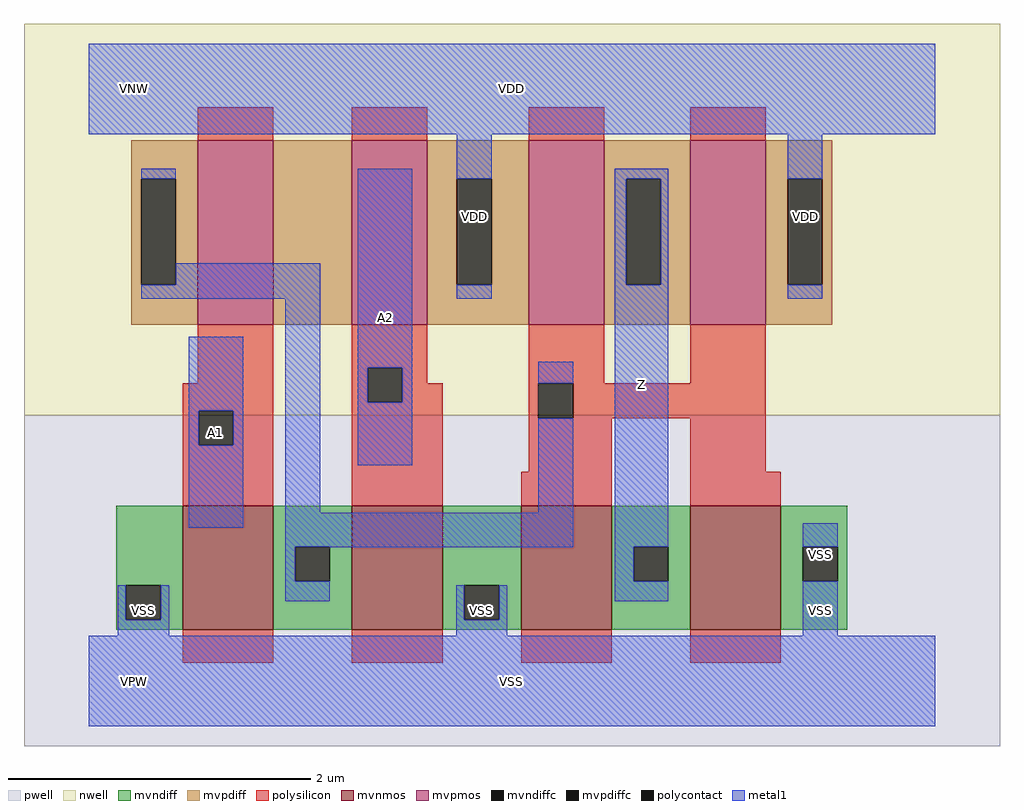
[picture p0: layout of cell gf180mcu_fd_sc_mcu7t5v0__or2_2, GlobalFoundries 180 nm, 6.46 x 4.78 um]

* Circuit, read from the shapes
.subckt gf180mcu_fd_sc_mcu7t5v0__or2_2 A1 A2 Z VDD VNW VPW VSS
XM1 n1 A1 VSS VPW nfet_06v0 w=0.82u l=0.6u
XM2 VSS A2 n1 VPW nfet_06v0 w=0.82u l=0.6u
XM3 Z n1 VSS VPW nfet_06v0 w=0.82u l=0.6u m=2
XM4 n2 A1 n1 VNW pfet_06v0 w=1.22u l=0.5u
XM5 VDD A2 n2 VNW pfet_06v0 w=1.22u l=0.5u
XM6 Z n1 VDD VNW pfet_06v0 w=1.22u l=0.5u m=2
.ends

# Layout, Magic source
magic
tech gf180mcuD
magscale 1 10
<< nwell >>
rect -86 352 1206 870
<< pwell >>
rect -86 -86 1206 352
<< mvnmos >>
rect 124 68 244 232
rect 348 68 468 232
rect 572 68 692 232
rect 796 68 916 232
<< mvpmos >>
rect 144 472 244 716
rect 348 472 448 716
rect 582 472 682 716
rect 796 472 896 716
<< mvndiff >>
rect 36 127 124 232
rect 36 81 49 127
rect 95 81 124 127
rect 36 68 124 81
rect 244 178 348 232
rect 244 132 273 178
rect 319 132 348 178
rect 244 68 348 132
rect 468 127 572 232
rect 468 81 497 127
rect 543 81 572 127
rect 468 68 572 81
rect 692 178 796 232
rect 692 132 721 178
rect 767 132 796 178
rect 692 68 796 132
rect 916 178 1004 232
rect 916 132 945 178
rect 991 132 1004 178
rect 916 68 1004 132
<< mvpdiff >>
rect 56 665 144 716
rect 56 525 69 665
rect 115 525 144 665
rect 56 472 144 525
rect 244 472 348 716
rect 448 665 582 716
rect 448 525 487 665
rect 533 525 582 665
rect 448 472 582 525
rect 682 665 796 716
rect 682 525 711 665
rect 757 525 796 665
rect 682 472 796 525
rect 896 665 984 716
rect 896 525 925 665
rect 971 525 984 665
rect 896 472 984 525
<< mvndiffc >>
rect 49 81 95 127
rect 273 132 319 178
rect 497 81 543 127
rect 721 132 767 178
rect 945 132 991 178
<< mvpdiffc >>
rect 69 525 115 665
rect 487 525 533 665
rect 711 525 757 665
rect 925 525 971 665
<< polysilicon >>
rect 144 716 244 760
rect 348 716 448 760
rect 582 716 682 760
rect 796 716 896 760
rect 144 394 244 472
rect 124 358 244 394
rect 124 312 145 358
rect 191 312 244 358
rect 124 232 244 312
rect 348 415 448 472
rect 348 369 369 415
rect 415 394 448 415
rect 582 394 682 472
rect 796 394 896 472
rect 415 369 468 394
rect 348 232 468 369
rect 582 348 595 394
rect 641 348 896 394
rect 582 277 692 348
rect 572 232 692 277
rect 796 277 896 348
rect 796 232 916 277
rect 124 24 244 68
rect 348 24 468 68
rect 572 24 692 68
rect 796 24 916 68
<< polycontact >>
rect 145 312 191 358
rect 369 369 415 415
rect 595 348 641 394
<< metal1 >>
rect 0 724 1120 844
rect 69 665 115 678
rect 115 525 306 553
rect 69 506 306 525
rect 132 358 204 456
rect 132 312 145 358
rect 191 312 204 358
rect 132 203 204 312
rect 260 223 306 506
rect 356 415 428 678
rect 487 665 533 724
rect 487 506 533 525
rect 696 665 767 678
rect 696 525 711 665
rect 757 525 767 665
rect 356 369 369 415
rect 415 369 428 415
rect 356 286 428 369
rect 595 394 641 423
rect 595 223 641 348
rect 260 178 641 223
rect 260 132 273 178
rect 319 177 641 178
rect 696 178 767 525
rect 925 665 971 724
rect 925 506 971 525
rect 38 81 49 127
rect 95 81 106 127
rect 260 106 319 132
rect 696 132 721 178
rect 38 60 106 81
rect 486 81 497 127
rect 543 81 554 127
rect 696 106 767 132
rect 945 178 991 209
rect 486 60 554 81
rect 945 60 991 132
rect 0 -60 1120 60
<< labels >>
flabel metal1 s 0 724 1120 844 0 FreeSans 400 0 0 0 VDD
port 4 nsew power bidirectional abutment
flabel metal1 s 945 127 991 209 0 FreeSans 400 0 0 0 VSS
port 7 nsew ground bidirectional abutment
flabel metal1 s 696 106 767 678 0 FreeSans 400 0 0 0 Z
port 3 nsew default output
flabel metal1 s 132 203 204 456 0 FreeSans 400 0 0 0 A1
port 1 nsew default input
flabel metal1 s 356 286 428 678 0 FreeSans 400 0 0 0 A2
port 2 nsew default input
flabel nwell s 10 734 110 834 0 FreeSans 400 0 0 0 VNW
port 5 nsew power bidirectional
flabel pwell s 10 -50 110 50 0 FreeSans 400 0 0 0 VPW
port 6 nsew ground bidirectional
rlabel metal1 s 925 506 971 724 1 VDD
port 4 nsew power bidirectional abutment
rlabel metal1 s 487 506 533 724 1 VDD
port 4 nsew power bidirectional abutment
rlabel metal1 s 945 60 991 127 1 VSS
port 7 nsew ground bidirectional abutment
rlabel metal1 s 486 60 554 127 1 VSS
port 7 nsew ground bidirectional abutment
rlabel metal1 s 38 60 106 127 1 VSS
port 7 nsew ground bidirectional abutment
rlabel metal1 s 0 -60 1120 60 1 VSS
port 7 nsew ground bidirectional abutment
<< properties >>
string FIXED_BBOX 0 0 1120 784
string GDS_END 150132
string GDS_FILE $PDKPATH/libs.ref/gf180mcu_fd_sc_mcu7t5v0/gds/gf180mcu_fd_sc_mcu7t5v0.gds
string GDS_START 146818
string LEFclass core
string LEFsite GF018hv5v_mcu_sc7
string LEFsymmetry X Y
<< end >>
